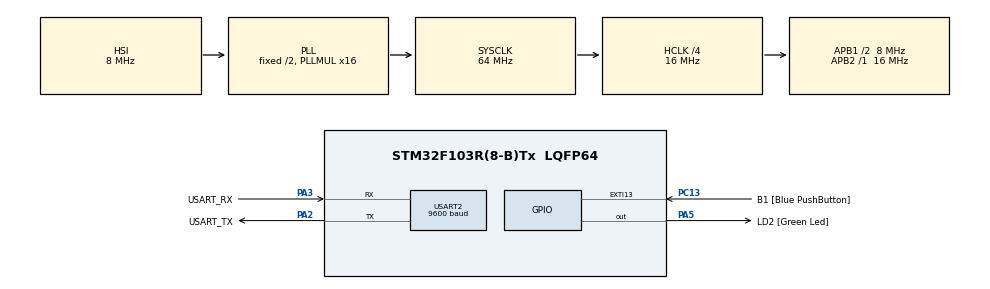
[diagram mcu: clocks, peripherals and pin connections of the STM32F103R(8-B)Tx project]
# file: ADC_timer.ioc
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ADC1.Channel-0\#ChannelRegularConversion=ADC_CHANNEL_TEMPSENSOR
ADC1.ExternalTrigConv=ADC_EXTERNALTRIGCONV_T3_TRGO
ADC1.NbrOfConversion=1
ADC1.NbrOfConversionFlag=1
ADC1.Rank-0\#ChannelRegularConversion=1
ADC1.SamplingTime-0\#ChannelRegularConversion=ADC_SAMPLETIME_1CYCLE_5
ADC1.master=1
Mcu.Family=STM32F1
Mcu.Name=STM32F103R(8-B)Tx
Mcu.Package=LQFP64
NVIC.ADC1_2_IRQn=true\:0\:0\:false\:false\:true\:true\:true\:true
NVIC.EXTI15_10_IRQn=true\:0\:0\:false\:false\:true\:true\:true\:true
NVIC.PriorityGroup=NVIC_PRIORITYGROUP_4
PA13.GPIO_Label=TMS
PA13.Mode=Serial_Wire
PA13.Signal=SYS_JTMS-SWDIO
PA14.GPIO_Label=TCK
PA14.Mode=Serial_Wire
PA14.Signal=SYS_JTCK-SWCLK
PA2.GPIO_Label=USART_TX
PA2.GPIO_Mode=GPIO_MODE_AF_PP
PA2.GPIO_PuPd=GPIO_NOPULL
PA2.GPIO_Speed=GPIO_SPEED_FREQ_LOW
PA2.Mode=Asynchronous
PA2.Signal=USART2_TX
PA3.GPIO_Label=USART_RX
PA3.GPIO_Mode=GPIO_MODE_AF_PP
PA3.GPIO_PuPd=GPIO_NOPULL
PA3.GPIO_Speed=GPIO_SPEED_FREQ_LOW
PA3.Mode=Asynchronous
PA3.Signal=USART2_RX
PA5.GPIO_Label=LD2 [Green Led]
PA5.GPIO_ModeDefaultOutputPP=GPIO_MODE_OUTPUT_PP
PA5.GPIO_PuPd=GPIO_NOPULL
PA5.GPIO_Speed=GPIO_SPEED_FREQ_LOW
PA5.Signal=GPIO_Output
PB3.GPIO_Label=SWO
PB3.Signal=SYS_JTDO-TRACESWO
PC13-TAMPER-RTC.GPIO_Label=B1 [Blue PushButton]
PC13-TAMPER-RTC.GPIO_PuPd=GPIO_NOPULL
PC13-TAMPER-RTC.Signal=GPXTI13
PC14-OSC32_IN.Mode=LSE-External-Oscillator
PC14-OSC32_IN.Signal=RCC_OSC32_IN
PC15-OSC32_OUT.Mode=LSE-External-Oscillator
PC15-OSC32_OUT.Signal=RCC_OSC32_OUT
PD0-OSC_IN.Mode=HSE-External-Clock-Source
PD0-OSC_IN.Signal=RCC_OSC_IN
PD1-OSC_OUT.Mode=HSE-External-Clock-Source
PD1-OSC_OUT.Signal=RCC_OSC_OUT
ProjectManager.HeapSize=0x200
ProjectManager.StackSize=0x400
ProjectManager.TargetToolchain=STM32CubeIDE
RCC.AHBCLKDivider=RCC_SYSCLK_DIV4
RCC.AHBFreq_Value=16000000
RCC.APB1CLKDivider=RCC_HCLK_DIV2
RCC.APB1Freq_Value=8000000
RCC.APB1TimFreq_Value=16000000
RCC.APB2Freq_Value=16000000
RCC.APB2TimFreq_Value=16000000
RCC.HCLKFreq_Value=16000000
RCC.PLLMUL=RCC_PLL_MUL16
RCC.RTCClockSelection=RCC_RTCCLKSOURCE_LSE
RCC.SYSCLKFreq_VALUE=64000000
RCC.SYSCLKSource=RCC_SYSCLKSOURCE_PLLCLK
RCC.USBFreq_Value=64000000
TIM3.Period=999
TIM3.Prescaler=15999
TIM3.TIM_MasterOutputTrigger=TIM_TRGO_UPDATE
USART2.BaudRate=9600
USART2.VirtualMode=VM_ASYNC
VP_ADC1_TempSens_Input.Mode=IN-TempSens
VP_TIM3_VS_ClockSourceINT.Mode=Internal
board=NUCLEO-F103RB

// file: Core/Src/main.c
/* USER CODE BEGIN Header */
/**
  ******************************************************************************
  * @file           : main.c
  * @brief          : Main program body
  ******************************************************************************
  * @attention
  *
  * Copyright (c) 2024 STMicroelectronics.
  * All rights reserved.
  *
  * This software is licensed under terms that can be found in the LICENSE file
  * in the root directory of this software component.
  * If no LICENSE file comes with this software, it is provided AS-IS.
  *
  ******************************************************************************
  */
/* USER CODE END Header */
#include "main.h"

ADC_HandleTypeDef hadc1;

TIM_HandleTypeDef htim3;

UART_HandleTypeDef huart2;

void SystemClock_Config(void);
static void MX_GPIO_Init(void);
static void MX_USART2_UART_Init(void);
static void MX_ADC1_Init(void);
static void MX_TIM3_Init(void);

int main(void)
{

  /* MCU Configuration--------------------------------------------------------*/

  /* Reset of all peripherals, Initializes the Flash interface and the Systick. */
  HAL_Init();

  /* Configure the system clock */
  SystemClock_Config();

  /* Initialize all configured peripherals */
  MX_GPIO_Init();
  MX_USART2_UART_Init();
  MX_ADC1_Init();
  MX_TIM3_Init();
  /* USER CODE BEGIN 2 */
  HAL_ADC_Start_IT(&hadc1);
  HAL_TIM_Base_Start(&htim3);

  /* USER CODE END 2 */

  /* Infinite loop */
  /* USER CODE BEGIN WHILE */
  while (1)
  {

//	  adcValue = HAL_ADC_GetValue(&hadc1);
//	  sprintf(text, "ADC AD#: %i", adcValue);
//	  HAL_UART_Transmit(&huart2, text, 20, HAL_MAX_DELAY);
	  HAL_Delay(10);

    /* USER CODE END WHILE */

  }
}

void SystemClock_Config(void)
{
  RCC_OscInitTypeDef RCC_OscInitStruct = {0};
  RCC_ClkInitTypeDef RCC_ClkInitStruct = {0};
  RCC_PeriphCLKInitTypeDef PeriphClkInit = {0};

  /** Initializes the RCC Oscillators according to the specified parameters
  * in the RCC_OscInitTypeDef structure.
  */
  RCC_OscInitStruct.OscillatorType = RCC_OSCILLATORTYPE_HSI;
  RCC_OscInitStruct.HSIState = RCC_HSI_ON;
  RCC_OscInitStruct.HSICalibrationValue = RCC_HSICALIBRATION_DEFAULT;
  RCC_OscInitStruct.PLL.PLLState = RCC_PLL_ON;
  RCC_OscInitStruct.PLL.PLLSource = RCC_PLLSOURCE_HSI_DIV2;
  RCC_OscInitStruct.PLL.PLLMUL = RCC_PLL_MUL16;
  if (HAL_RCC_OscConfig(&RCC_OscInitStruct) != HAL_OK)
  {
    Error_Handler();
  }

  /** Initializes the CPU, AHB and APB buses clocks
  */
  RCC_ClkInitStruct.ClockType = RCC_CLOCKTYPE_HCLK|RCC_CLOCKTYPE_SYSCLK
                              |RCC_CLOCKTYPE_PCLK1|RCC_CLOCKTYPE_PCLK2;
  RCC_ClkInitStruct.SYSCLKSource = RCC_SYSCLKSOURCE_PLLCLK;
  RCC_ClkInitStruct.AHBCLKDivider = RCC_SYSCLK_DIV4;
  RCC_ClkInitStruct.APB1CLKDivider = RCC_HCLK_DIV2;
  RCC_ClkInitStruct.APB2CLKDivider = RCC_HCLK_DIV1;

  if (HAL_RCC_ClockConfig(&RCC_ClkInitStruct, FLASH_LATENCY_2) != HAL_OK)
  {
    Error_Handler();
  }
  PeriphClkInit.PeriphClockSelection = RCC_PERIPHCLK_ADC;
  PeriphClkInit.AdcClockSelection = RCC_ADCPCLK2_DIV2;
  if (HAL_RCCEx_PeriphCLKConfig(&PeriphClkInit) != HAL_OK)
  {
    Error_Handler();
  }
}

static void MX_ADC1_Init(void)
{

  ADC_ChannelConfTypeDef sConfig = {0};

  /** Common config
  */
  hadc1.Instance = ADC1;
  hadc1.Init.ScanConvMode = ADC_SCAN_DISABLE;
  hadc1.Init.ContinuousConvMode = DISABLE;
  hadc1.Init.DiscontinuousConvMode = DISABLE;
  hadc1.Init.ExternalTrigConv = ADC_EXTERNALTRIGCONV_T3_TRGO;
  hadc1.Init.DataAlign = ADC_DATAALIGN_RIGHT;
  hadc1.Init.NbrOfConversion = 1;
  if (HAL_ADC_Init(&hadc1) != HAL_OK)
  {
    Error_Handler();
  }

  /** Configure Regular Channel
  */
  sConfig.Channel = ADC_CHANNEL_TEMPSENSOR;
  sConfig.Rank = ADC_REGULAR_RANK_1;
  sConfig.SamplingTime = ADC_SAMPLETIME_1CYCLE_5;
  if (HAL_ADC_ConfigChannel(&hadc1, &sConfig) != HAL_OK)
  {
    Error_Handler();
  }

}

static void MX_TIM3_Init(void)
{

  TIM_ClockConfigTypeDef sClockSourceConfig = {0};
  TIM_MasterConfigTypeDef sMasterConfig = {0};

  htim3.Instance = TIM3;
  htim3.Init.Prescaler = 15999;
  htim3.Init.CounterMode = TIM_COUNTERMODE_UP;
  htim3.Init.Period = 999;
  htim3.Init.ClockDivision = TIM_CLOCKDIVISION_DIV1;
  htim3.Init.AutoReloadPreload = TIM_AUTORELOAD_PRELOAD_DISABLE;
  if (HAL_TIM_Base_Init(&htim3) != HAL_OK)
  {
    Error_Handler();
  }
  sClockSourceConfig.ClockSource = TIM_CLOCKSOURCE_INTERNAL;
  if (HAL_TIM_ConfigClockSource(&htim3, &sClockSourceConfig) != HAL_OK)
  {
    Error_Handler();
  }
  sMasterConfig.MasterOutputTrigger = TIM_TRGO_UPDATE;
  sMasterConfig.MasterSlaveMode = TIM_MASTERSLAVEMODE_DISABLE;
  if (HAL_TIMEx_MasterConfigSynchronization(&htim3, &sMasterConfig) != HAL_OK)
  {
    Error_Handler();
  }

}

static void MX_USART2_UART_Init(void)
{

  huart2.Instance = USART2;
  huart2.Init.BaudRate = 9600;
  huart2.Init.WordLength = UART_WORDLENGTH_8B;
  huart2.Init.StopBits = UART_STOPBITS_1;
  huart2.Init.Parity = UART_PARITY_NONE;
  huart2.Init.Mode = UART_MODE_TX_RX;
  huart2.Init.HwFlowCtl = UART_HWCONTROL_NONE;
  huart2.Init.OverSampling = UART_OVERSAMPLING_16;
  if (HAL_UART_Init(&huart2) != HAL_OK)
  {
    Error_Handler();
  }

}

static void MX_GPIO_Init(void)
{
  GPIO_InitTypeDef GPIO_InitStruct = {0};

  /* GPIO Ports Clock Enable */
  __HAL_RCC_GPIOC_CLK_ENABLE();
  __HAL_RCC_GPIOD_CLK_ENABLE();
  __HAL_RCC_GPIOA_CLK_ENABLE();
  __HAL_RCC_GPIOB_CLK_ENABLE();

  /*Configure GPIO pin Output Level */
  HAL_GPIO_WritePin(LD2_GPIO_Port, LD2_Pin, GPIO_PIN_RESET);

  /*Configure GPIO pin : B1_Pin */
  GPIO_InitStruct.Pin = B1_Pin;
  GPIO_InitStruct.Mode = GPIO_MODE_IT_RISING;
  GPIO_InitStruct.Pull = GPIO_NOPULL;
  HAL_GPIO_Init(B1_GPIO_Port, &GPIO_InitStruct);

  /*Configure GPIO pin : LD2_Pin */
  GPIO_InitStruct.Pin = LD2_Pin;
  GPIO_InitStruct.Mode = GPIO_MODE_OUTPUT_PP;
  GPIO_InitStruct.Pull = GPIO_NOPULL;
  GPIO_InitStruct.Speed = GPIO_SPEED_FREQ_LOW;
  HAL_GPIO_Init(LD2_GPIO_Port, &GPIO_InitStruct);

  /* EXTI interrupt init*/
  HAL_NVIC_SetPriority(EXTI15_10_IRQn, 0, 0);
  HAL_NVIC_EnableIRQ(EXTI15_10_IRQn);

}

/* USER CODE BEGIN 4 */
void HAL_ADC_ConvCpltCallback(ADC_HandleTypeDef* hadc){
	uint16_t adcValue = 0;
	uint8_t text[100] = {'\0'};
	float temperature_avg = 0, temperature_min = 0, temperature_max = 0;
	uint8_t temperature_avg_dec, temperature_min_dec, temperature_max_dec;
	const float AVG_SLOPE_avg = 4.3, AVG_SLOPE_min = 4.0, AVG_SLOPE_max = 4.6; // average slope [mV/C]
	const float V25_avg = 1430, V25_min = 1340, V25_max = 1520 ; // Voltage at 25 degrees [mV]

	if(hadc->Instance == ADC1){
		  adcValue = HAL_ADC_GetValue(&hadc1);
		  /* convert value to temperature RM0008 p236 & datasheet p78
		   * V25 1.34(min) 1.43(avg) 1.52()max
		   * avg_slope 4.0(min) 4.3(avg) 4.6(max) */

		  // average
		  temperature_avg = ( (V25_avg - (adcValue * (3300.0/4096.0) ) )  / AVG_SLOPE_avg) + 25.0 ; // manual says  +25 but gives 55 deg
		  temperature_avg_dec = (temperature_avg - (int)temperature_avg) * 100;
		  // min
		  temperature_min = ( (V25_min - (adcValue * (3300.0/4096.0) ) )  / AVG_SLOPE_max) + 25.0 ; // manual says  +25 but gives 55 deg
		  temperature_min_dec = (temperature_min - (int)temperature_min) * 100;
		  // max
		  temperature_max = ( (V25_max - (adcValue * (3300.0/4096.0) ) )  / AVG_SLOPE_min) + 25.0 ; // manual says  +25 but gives 55 deg
		  temperature_max_dec = (temperature_max - (int)temperature_max) * 100;

		  sprintf(text, ">> Temperature [AD#:%i]: AVG=%i.%i MIN=%i.%i MAX=%i.%i\r\n",
				  adcValue, (int)temperature_avg, temperature_avg_dec, (int)temperature_min, temperature_min_dec, (int)temperature_max, temperature_max_dec);

		  HAL_UART_Transmit(&huart2, text, sizeof(text), HAL_MAX_DELAY);

		  HAL_GPIO_TogglePin(LD2_GPIO_Port, LD2_Pin);
	}
}

/* USER CODE END 4 */

void Error_Handler(void)
{
  __disable_irq();
  while (1)
  {
  }
}
